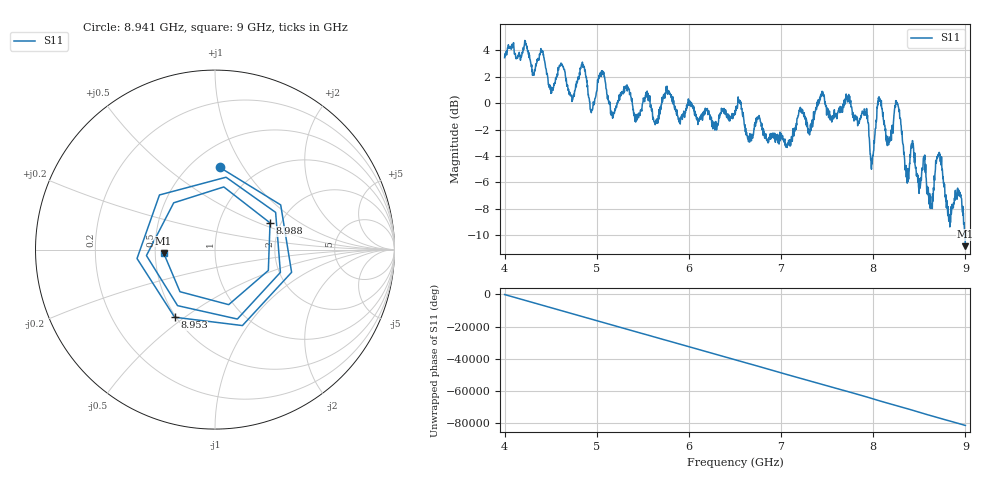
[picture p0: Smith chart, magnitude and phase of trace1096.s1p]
! Created with skrf 1.8.0 (http://scikit-rf.org).
# Hz S RI R 50.0
!freq ReS11 ImS11
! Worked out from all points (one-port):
!   1601 points, 4 GHz to 9 GHz, reference 50 ohm
!   lowest |S11| = -10.8 dB at 9 GHz (marker M1), VSWR 1.81, Z = 27.7 - j1.09 ohm
!   |S11| at or under -10 dB: 8.993837 GHz to end of sweep
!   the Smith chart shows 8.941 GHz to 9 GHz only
!   S11 on the Smith chart (normalised r, x): 8.941 GHz: 0.68, +0.79; 8.953 GHz: 0.49, -0.46; 8.988 GHz: 1.76, +0.59; 9 GHz: 0.55, -0.02
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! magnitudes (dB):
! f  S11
! 4 GHz  3.4
! 4.506 GHz  1.0
! 4.625 GHz  2.9
! 4.731 GHz  0.1
! 4.853 GHz  2.9
! 4.947 GHz  -0.5
! 5.05 GHz  2.0
! 5.172 GHz  -1.1
! 5.25 GHz  0.5
! 5.875 GHz  -0.9
! 6.5 GHz  -0.6
! 7.125 GHz  -2.4
! 7.444 GHz  0.9
! 7.75 GHz  0.0
! 7.925 GHz  -0.9
! 7.988 GHz  -4.6
! 8.062 GHz  0.5
! 8.162 GHz  -3.2
! 8.259 GHz  0.0
! 8.375 GHz  -6.0
! 8.425 GHz  -2.8
! 8.625 GHz  -8.0
! 8.716 GHz  -3.7
! 8.825 GHz  -8.8
! 8.941 GHz  -6.8
! 8.953 GHz  -7.2
! 8.988 GHz  -9.3
! 9 GHz  -10.8
